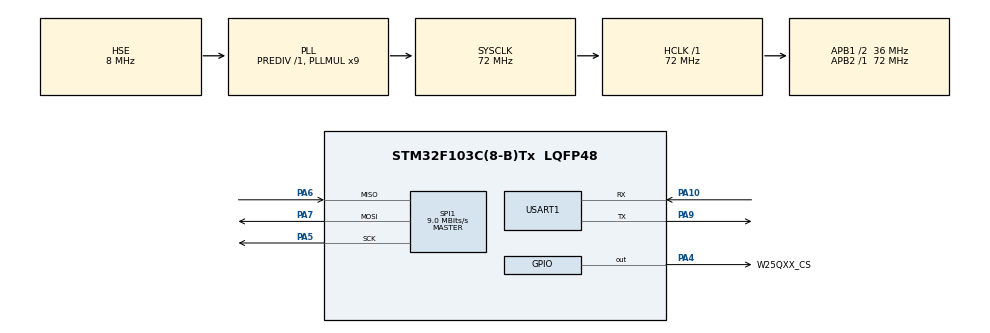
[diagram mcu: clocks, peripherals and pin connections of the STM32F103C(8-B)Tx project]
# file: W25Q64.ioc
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Mcu.Family=STM32F1
Mcu.Name=STM32F103C(8-B)Tx
Mcu.Package=LQFP48
NVIC.PriorityGroup=NVIC_PRIORITYGROUP_4
PA10.Mode=Asynchronous
PA10.Signal=USART1_RX
PA13.Mode=Serial_Wire
PA13.Signal=SYS_JTMS-SWDIO
PA14.Mode=Serial_Wire
PA14.Signal=SYS_JTCK-SWCLK
PA4.GPIO_Label=W25QXX_CS
PA4.GPIO_PuPd=GPIO_PULLUP
PA4.GPIO_Speed=GPIO_SPEED_FREQ_HIGH
PA4.PinState=GPIO_PIN_SET
PA4.Signal=GPIO_Output
PA5.Mode=Full_Duplex_Master
PA5.Signal=SPI1_SCK
PA6.Mode=Full_Duplex_Master
PA6.Signal=SPI1_MISO
PA7.Mode=Full_Duplex_Master
PA7.Signal=SPI1_MOSI
PA9.Mode=Asynchronous
PA9.Signal=USART1_TX
PD0-OSC_IN.Mode=HSE-External-Oscillator
PD0-OSC_IN.Signal=RCC_OSC_IN
PD1-OSC_OUT.Mode=HSE-External-Oscillator
PD1-OSC_OUT.Signal=RCC_OSC_OUT
ProjectManager.HeapSize=0x200
ProjectManager.StackSize=0x400
ProjectManager.TargetToolchain=MDK-ARM V5.32
RCC.AHBFreq_Value=72000000
RCC.APB1CLKDivider=RCC_HCLK_DIV2
RCC.APB1Freq_Value=36000000
RCC.APB1TimFreq_Value=72000000
RCC.APB2Freq_Value=72000000
RCC.APB2TimFreq_Value=72000000
RCC.HCLKFreq_Value=72000000
RCC.PLLMUL=RCC_PLL_MUL9
RCC.PLLSourceVirtual=RCC_PLLSOURCE_HSE
RCC.SYSCLKFreq_VALUE=72000000
RCC.SYSCLKSource=RCC_SYSCLKSOURCE_PLLCLK
RCC.USBFreq_Value=72000000
SPI1.BaudRatePrescaler=SPI_BAUDRATEPRESCALER_8
SPI1.CalculateBaudRate=9.0 MBits/s
SPI1.Direction=SPI_DIRECTION_2LINES
SPI1.Mode=SPI_MODE_MASTER
SPI1.VirtualType=VM_MASTER
USART1.VirtualMode=VM_ASYNC
board=custom

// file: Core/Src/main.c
/* USER CODE BEGIN Header */
/**
  ******************************************************************************
  * @file           : main.c
  * @brief          : Main program body
  ******************************************************************************
  * @attention
  *
  * Copyright (c) 2024 STMicroelectronics.
  * All rights reserved.
  *
  * This software is licensed under terms that can be found in the LICENSE file
  * in the root directory of this software component.
  * If no LICENSE file comes with this software, it is provided AS-IS.
  *
  ******************************************************************************
  */
/* USER CODE END Header */
#include "main.h"
#include "spi.h"
#include "usart.h"
#include "gpio.h"

/* USER CODE BEGIN Includes */
#include "stdio.h"
#include "string.h"
#include "w25qxx.h"
/* USER CODE END Includes */

/* USER CODE BEGIN PTD */

uint8_t wData[0x100];   //写缓存数组
uint8_t rData[0x100];   //读缓存数组
uint8_t ID[4];          //设备ID缓存数组
uint32_t i;
/* USER CODE END PTD */

void SystemClock_Config(void);

int main(void)
{

  /* MCU Configuration--------------------------------------------------------*/

  /* Reset of all peripherals, Initializes the Flash interface and the Systick. */
  HAL_Init();

  /* Configure the system clock */
  SystemClock_Config();

  /* Initialize all configured peripherals */
  MX_GPIO_Init();
  MX_SPI1_Init();
  MX_USART1_UART_Init();
  /* USER CODE BEGIN 2 */
  printf("\r\n SPI-W25Qxx Example \r\n\r\n");
  BSP_W25Qx_Init();
  BSP_W25Qx_Read_ID(ID);

	if((ID[0] != 0xEF) | (ID[1] != 0x16))
	{
		printf("something wrong in Step1 \r\n");
	}
	else
	{
		printf(" W25Qxx ID is : ");
		for(i=0;i<2;i++)
		{
			printf("0x%02X ",ID[i]);
		}
		printf("\r\n");
	}
	/*-Step2- 擦除块  ************************************************Step2*/
//	if(BSP_W25Qx_Erase_Block(0) == W25Qx_OK)
//		printf(" QSPI Erase Block OK!\r\n");
//	else
//		printf("something wrong in Step2\r\n");
//	/*-Step3- 写数据  ************************************************Step3*/
//	for(i =0;i<0x100;i ++)
//	{
//			wData[i] = i;
//            rData[i] = 0;
//	}
//	wData[0]=20;
//	wData[1]=24;
//	wData[2]=10;
//	wData[3]=21;
//	if(BSP_W25Qx_Write(wData,0x00,0x100)== W25Qx_OK)
//		printf(" QSPI Write OK!\r\n");
//	else
//		printf("something wrong in Step3\r\n");
    /*-Step4- 读数据  ************************************************Step4*/
	if(BSP_W25Qx_Read(rData,0x00,0x100)== W25Qx_OK)
		printf(" QSPI Read ok\r\n\r\n");
	else
		printf("something wrong in Step4\r\n");

	printf("QSPI Read Data : \r\n");
	for(i =0;i<0x100;i++)
		printf("0x%02X  ",rData[i]);
	printf("\r\n\r\n");
	/*-Step5- 数据对比  ************************************************Step5*/
	if(memcmp(wData,rData,0x100) == 0 )
		printf(" W25Q64FV QuadSPI Test OK\r\n");
	else
		printf(" W25Q64FV QuadSPI Test False\r\n");
  /* USER CODE END 2 */

  /* Infinite loop */
  while (1)
  {

  }
}

void SystemClock_Config(void)
{
  RCC_OscInitTypeDef RCC_OscInitStruct = {0};
  RCC_ClkInitTypeDef RCC_ClkInitStruct = {0};

  /** Initializes the RCC Oscillators according to the specified parameters
  * in the RCC_OscInitTypeDef structure.
  */
  RCC_OscInitStruct.OscillatorType = RCC_OSCILLATORTYPE_HSE;
  RCC_OscInitStruct.HSEState = RCC_HSE_ON;
  RCC_OscInitStruct.HSEPredivValue = RCC_HSE_PREDIV_DIV1;
  RCC_OscInitStruct.HSIState = RCC_HSI_ON;
  RCC_OscInitStruct.PLL.PLLState = RCC_PLL_ON;
  RCC_OscInitStruct.PLL.PLLSource = RCC_PLLSOURCE_HSE;
  RCC_OscInitStruct.PLL.PLLMUL = RCC_PLL_MUL9;
  if (HAL_RCC_OscConfig(&RCC_OscInitStruct) != HAL_OK)
  {
    Error_Handler();
  }

  /** Initializes the CPU, AHB and APB buses clocks
  */
  RCC_ClkInitStruct.ClockType = RCC_CLOCKTYPE_HCLK|RCC_CLOCKTYPE_SYSCLK
                              |RCC_CLOCKTYPE_PCLK1|RCC_CLOCKTYPE_PCLK2;
  RCC_ClkInitStruct.SYSCLKSource = RCC_SYSCLKSOURCE_PLLCLK;
  RCC_ClkInitStruct.AHBCLKDivider = RCC_SYSCLK_DIV1;
  RCC_ClkInitStruct.APB1CLKDivider = RCC_HCLK_DIV2;
  RCC_ClkInitStruct.APB2CLKDivider = RCC_HCLK_DIV1;

  if (HAL_RCC_ClockConfig(&RCC_ClkInitStruct, FLASH_LATENCY_2) != HAL_OK)
  {
    Error_Handler();
  }
}

void Error_Handler(void)
{
  __disable_irq();
  while (1)
  {
  }
}
